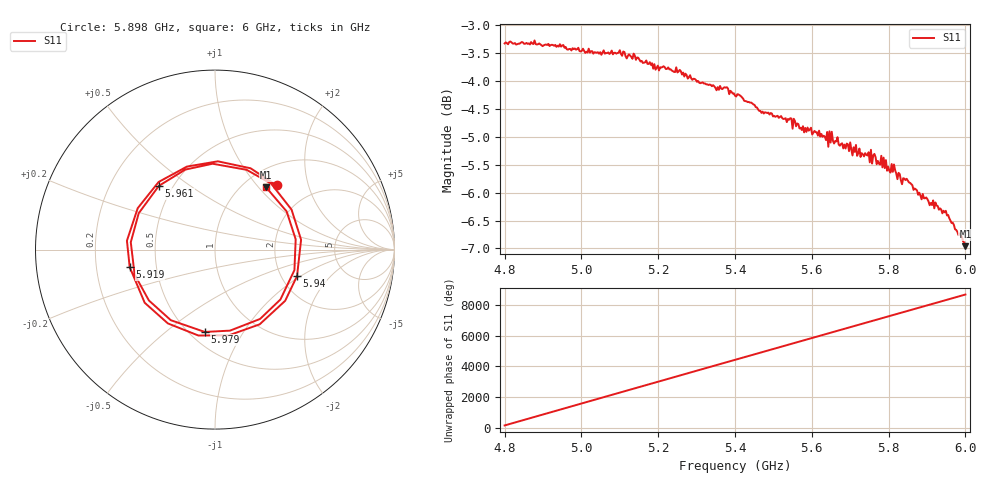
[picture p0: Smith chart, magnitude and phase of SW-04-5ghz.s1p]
! NanoVNA-App
! Date: 2026-05-22 18:58:33
! Start: 4.8GHz Stop: 6GHz Points: 401
! S-Parameter data: F S11
# Hz S RI R 50
!  Frequency  S11_Real  S11_Imag
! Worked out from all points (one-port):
!   401 points, 4.8 GHz to 6 GHz, reference 50 ohm
!   lowest |S11| = -7.0 dB at 6 GHz (marker M1), VSWR 2.63, Z = 63.3 + j54.9 ohm
!   |S11| at or under -10 dB: nowhere
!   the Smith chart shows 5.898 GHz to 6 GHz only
!   S11 on the Smith chart (normalised r, x): 5.898 GHz: 1.35, +1.28; 5.919 GHz: 0.35, -0.09; 5.94 GHz: 2.43, -0.93; 5.961 GHz: 0.42, +0.38; 5.979 GHz: 0.59, -0.69; 6 GHz: 1.27, +1.10
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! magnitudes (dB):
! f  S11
! 4.8 GHz  -3.3
! 4.95 GHz  -3.4
! 4.968 GHz  -3.4
! 5.1 GHz  -3.4
! 5.142 GHz  -3.6
! 5.199 GHz  -3.7
! 5.25 GHz  -3.8
! 5.307 GHz  -4.0
! 5.376 GHz  -4.1
! 5.4 GHz  -4.3
! 5.469 GHz  -4.6
! 5.55 GHz  -4.9
! 5.574 GHz  -4.9
! 5.646 GHz  -4.9
! 5.7 GHz  -5.1
! 5.76 GHz  -5.3
! 5.772 GHz  -5.4
! 5.787 GHz  -5.4
! 5.802 GHz  -5.6
! 5.814 GHz  -5.5
! 5.829 GHz  -5.7
! 5.85 GHz  -5.8
! 5.898 GHz  -6.1
! 5.919 GHz  -6.3
! 5.94 GHz  -6.4
! 5.961 GHz  -6.5
! 5.979 GHz  -6.7
! 6 GHz  -7.0
